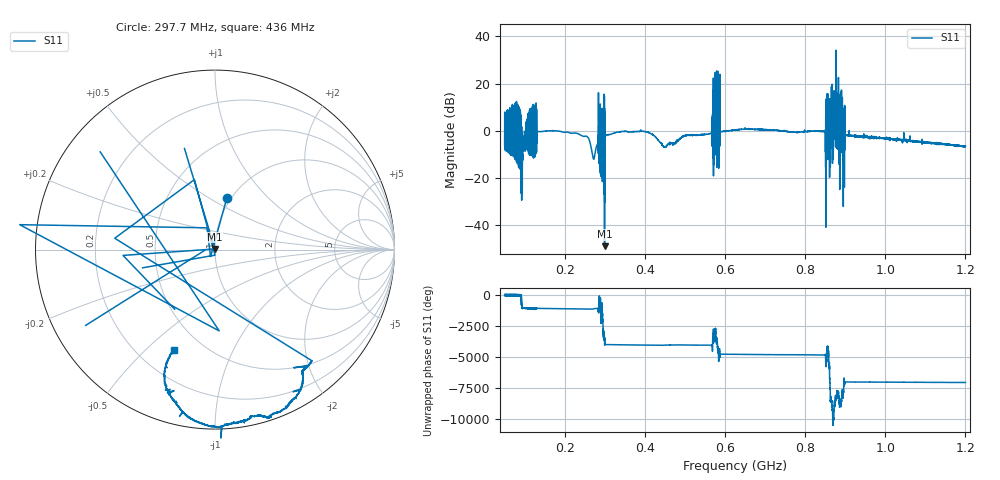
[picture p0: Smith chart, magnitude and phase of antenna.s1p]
! Calibrated high-resolution NanoVNA antenna measurement
# Hz S RI R 50
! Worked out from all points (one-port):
!   40001 points, 50 MHz to 1.2 GHz, reference 50 ohm
!   lowest |S11| = -48.8 dB at 299.4 MHz (marker M1), VSWR 1.01, Z = 49.9 + j0.353 ohm
!   |S11| at or under -10 dB: 92.7 MHz to 93.55 MHz (844.9 kHz wide, 0.907 % of centre); 93.77 MHz to 94.46 MHz (695.2 kHz wide, 0.739 % of centre); 269.2 MHz to 275.2 MHz (5.998 MHz wide, 2.2 % of centre) (the widest 3 of 334)
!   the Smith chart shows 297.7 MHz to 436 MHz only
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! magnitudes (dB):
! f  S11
! 50 MHz  -6.0
! 55.81 MHz  -8.4
! 81.48 MHz  -5.1
! 93.99 MHz  -18.1
! 96.95 MHz  -5.4
! 103.4 MHz  -1.3
! 111.2 MHz  3.1
! 193.8 MHz  -0.4
! 255.2 MHz  -2.3
! 272 MHz  -11.9
! 283.2 MHz  -4.9
! 299.4 MHz  -48.8
! 337.5 MHz  -0.3
! 406.7 MHz  -0.5
! 449.2 MHz  -7.0
! 481.2 MHz  -4.2
! 563 MHz  -1.1
! 580.2 MHz  8.6
! 593.6 MHz  -0.2
! 625 MHz  0.4
! 768.8 MHz  -0.5
! 847.8 MHz  -0.1
! 868.6 MHz  -8.0
! 894.2 MHz  7.2
! 905.8 MHz  -1.8
! 912.5 MHz  -2.0
! 1.056 GHz  -4.2
! 1.2 GHz  -6.7
